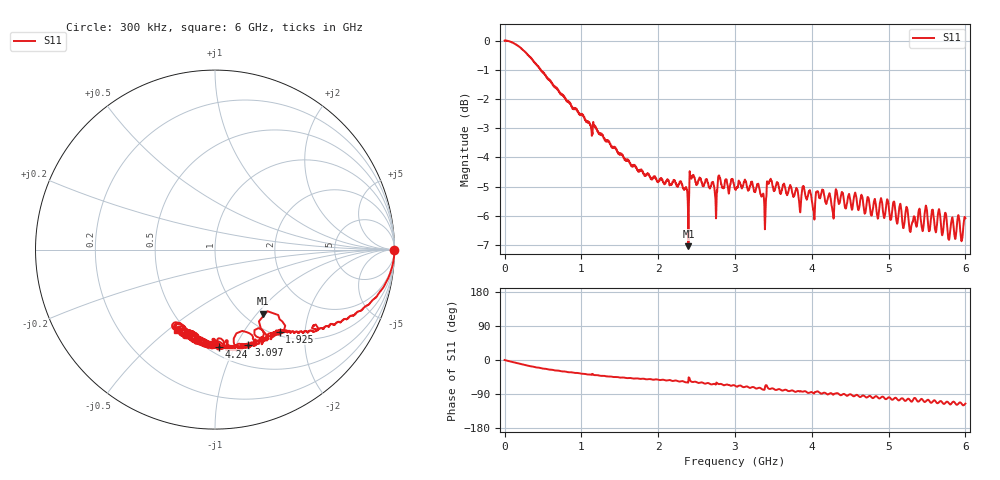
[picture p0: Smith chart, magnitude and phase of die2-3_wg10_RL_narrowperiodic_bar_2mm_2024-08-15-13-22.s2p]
!Keysight Technologies,P9374A,MY57304198,A.17.20.09
!Date: Thursday, August 15, 2024 13:22:51
!Correction: S11(C  1-Port  )
!S21(C  1-Port  )
!S12(Off)
!S22(Off)
!S2P File: Measurements: S11, S21, S12, S22:
# Hz S  dB  R 50
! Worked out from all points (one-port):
!   6000 points, 300 kHz to 6 GHz, reference 50 ohm
!   lowest |S11| = -7.0 dB at 2.394 GHz (marker M1), VSWR 2.60, Z = 60.4 - j53.6 ohm
!   |S11| at or under -10 dB: nowhere
!   S11 on the Smith chart (normalised r, x): 300 kHz: open; 1.925 GHz: 1.07, -1.48; 3.097 GHz: 0.73, -1.12; 4.24 GHz: 0.57, -0.87; 6 GHz: 0.45, -0.54
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300000  -0.00 -0.0  -200.00 45.0  -200.00 45.0  -200.00 45.0
1.823212e8  -0.20 -9.5  -200.00 45.0  -200.00 45.0  -200.00 45.0
4.173487e8  -0.82 -19.7  -200.00 45.0  -200.00 45.0  -200.00 45.0
1.000417e9  -2.55 -36.1  -200.00 45.0  -200.00 45.0  -200.00 45.0
1.496475e9  -3.90 -46.2  -200.00 45.0  -200.00 45.0  -200.00 45.0
1.924525e9  -4.70 -51.8  -200.00 45.0  -200.00 45.0  -200.00 45.0
2.000533e9  -4.85 -52.2  -200.00 45.0  -200.00 45.0  -200.00 45.0
2.364576e9  -5.02 -59.1  -200.00 45.0  -200.00 45.0  -200.00 45.0
2.393579e9  -7.03 -53.2  -200.00 45.0  -200.00 45.0  -200.00 45.0
2.449586e9  -4.63 -58.2  -200.00 45.0  -200.00 45.0  -200.00 45.0
3.00065e9  -5.06 -67.7  -200.00 45.0  -200.00 45.0  -200.00 45.0
3.096661e9  -5.00 -70.6  -200.00 45.0  -200.00 45.0  -200.00 45.0
3.359692e9  -5.28 -77.9  -200.00 45.0  -200.00 45.0  -200.00 45.0
3.420699e9  -4.84 -70.8  -200.00 45.0  -200.00 45.0  -200.00 45.0
3.456703e9  -4.78 -76.5  -200.00 45.0  -200.00 45.0  -200.00 45.0
4.000767e9  -5.49 -84.8  -200.00 45.0  -200.00 45.0  -200.00 45.0
4.239795e9  -5.33 -87.7  -200.00 45.0  -200.00 45.0  -200.00 45.0
5.000883e9  -5.66 -98.5  -200.00 45.0  -200.00 45.0  -200.00 45.0
5.290917e9  -6.45 -109.3  -200.00 45.0  -200.00 45.0  -200.00 45.0
5.342923e9  -6.08 -100.2  -200.00 45.0  -200.00 45.0  -200.00 45.0
5.386928e9  -5.92 -109.8  -200.00 45.0  -200.00 45.0  -200.00 45.0
6e9  -6.08 -115.0  -200.00 45.0  -200.00 45.0  -200.00 45.0
